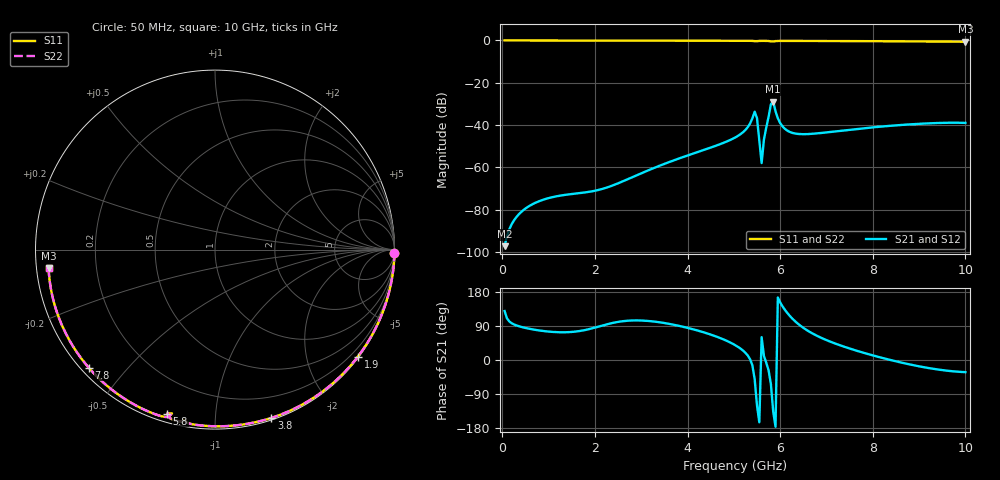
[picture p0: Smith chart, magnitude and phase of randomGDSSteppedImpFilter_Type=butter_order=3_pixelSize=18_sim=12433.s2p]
! freq	dB(S11)	phase(S11)	dB(S12)	phase(S12)
!  dB(S21)	phase(S21)	dB(S22)	phase(S22)
!S-par simulation data
#  GHz  S  DB  R 50
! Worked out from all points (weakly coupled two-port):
!   200 points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, 50 MHz to 10 GHz, reference 50 ohm
!   highest |S21| = -28.86 dB at 5.85 GHz (marker M1); lowest = -97.2 dB at 50 MHz (marker M2)
!   lowest |S11| = -0.6 dB at 10 GHz (marker M3), VSWR 28.87, Z = 1.74 - j2.79 ohm
!   |S11| at or under -10 dB: nowhere
!   |S22| runs from -0.6 to 0.0 dB; largest |S21 - S12| = 0
!   S11 on the Smith chart (normalised r, x): 50 MHz: open; 1.9 GHz: 0.03, -3.01; 3.8 GHz: 0.02, -1.39; 5.8 GHz: 0.04, -0.75; 7.8 GHz: 0.02, -0.39; 10 GHz: 0.03, -0.06
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0.05  -0.00 -1.0  -97.16 129.2  -97.16 129.2  -0.00 -1.0
0.45  -0.01 -8.9  -80.22 86.0  -80.22 86.0  -0.01 -8.9
0.95  -0.02 -18.6  -74.76 75.6  -74.76 75.6  -0.02 -18.6
1.75  -0.04 -34.0  -71.89 78.2  -71.89 78.2  -0.04 -34.0
1.9  -0.05 -36.8  -71.40 82.3  -71.40 82.3  -0.05 -36.8
3.4  -0.09 -64.4  -59.14 99.5  -59.14 99.5  -0.09 -64.4
3.8  -0.10 -71.4  -55.87 90.5  -55.87 90.5  -0.10 -71.4
5.05  -0.14 -93.0  -45.58 37.7  -45.58 37.7  -0.14 -93.0
5.3  -0.16 -97.4  -40.96 11.9  -40.96 11.9  -0.16 -97.4
5.45  -0.32 -100.2  -33.67 -50.7  -33.67 -50.7  -0.32 -100.2
5.5  -0.33 -99.8  -36.69 -120.4  -36.69 -120.4  -0.33 -99.8
5.6  -0.20 -101.8  -57.93 60.3  -57.93 60.3  -0.20 -101.8
5.65  -0.20 -102.8  -46.72 10.8  -46.72 10.8  -0.20 -102.8
5.8  -0.43 -106.2  -30.12 -63.6  -30.12 -63.6  -0.43 -106.2
5.85  -0.51 -104.7  -28.86 -135.7  -28.86 -135.7  -0.51 -104.7
5.95  -0.24 -106.6  -36.77 164.9  -36.77 164.9  -0.24 -106.6
6.1  -0.21 -109.4  -41.71 132.8  -41.71 132.8  -0.21 -109.4
6.35  -0.22 -113.6  -44.05 99.3  -44.05 99.3  -0.22 -113.6
6.7  -0.24 -119.3  -44.08 69.9  -44.08 69.9  -0.24 -119.3
7.8  -0.33 -136.9  -41.48 19.1  -41.48 19.1  -0.33 -136.9
8.35  -0.38 -145.8  -40.36 1.0  -40.36 1.0  -0.38 -145.8
10  -0.60 -173.6  -38.95 -32.0  -38.95 -32.0  -0.60 -173.6
